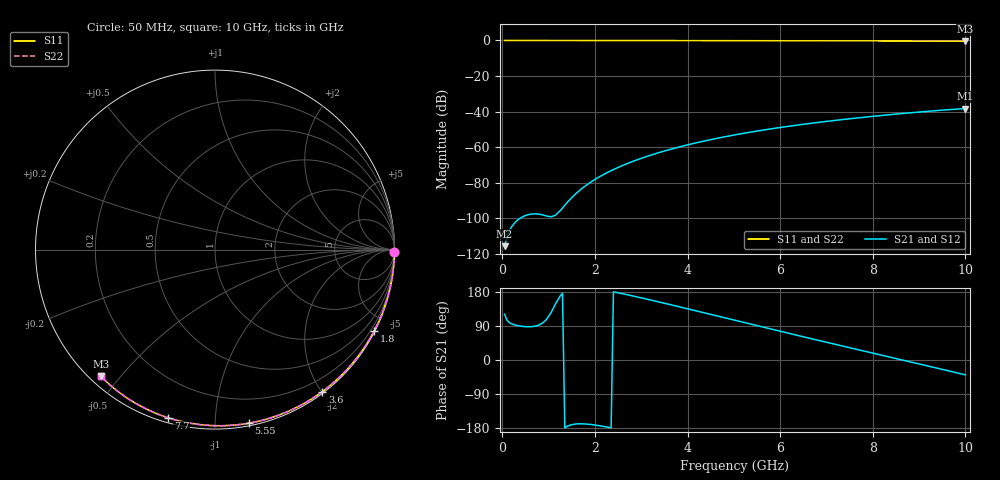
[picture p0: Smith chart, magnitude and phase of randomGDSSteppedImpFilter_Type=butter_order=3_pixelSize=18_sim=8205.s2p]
! freq	dB(S11)	phase(S11)	dB(S12)	phase(S12)
!  dB(S21)	phase(S21)	dB(S22)	phase(S22)
!S-par simulation data
#  GHz  S  DB  R 50
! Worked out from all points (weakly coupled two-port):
!   200 points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, 50 MHz to 10 GHz, reference 50 ohm
!   highest |S21| = -38.30 dB at 10 GHz (marker M1); lowest = -115.8 dB at 50 MHz (marker M2)
!   lowest |S11| = -0.4 dB at 10 GHz (marker M3), VSWR 39.13, Z = 1.53 - j22.3 ohm
!   |S11| at or under -10 dB: nowhere
!   |S22| runs from -0.4 to 0.0 dB; largest |S21 - S12| = 0
!   S11 on the Smith chart (normalised r, x): 50 MHz: open; 1.8 GHz: 0.04, -4.16; 3.6 GHz: 0.02, -2.01; 5.55 GHz: 0.02, -1.21; 7.7 GHz: 0.02, -0.76; 10 GHz: 0.03, -0.45
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0.05  -0.00 -0.8  -115.79 120.7  -115.79 120.7  -0.00 -0.8
0.45  -0.00 -6.8  -99.10 88.5  -99.10 88.5  -0.00 -6.8
0.9  -0.01 -13.6  -98.43 100.8  -98.43 100.8  -0.01 -13.6
1.75  -0.03 -26.3  -82.70 -168.6  -82.70 -168.6  -0.03 -26.3
1.8  -0.03 -27.0  -81.72 -168.9  -81.72 -168.9  -0.03 -27.0
1.9  -0.04 -28.5  -79.90 -170.0  -79.90 -170.0  -0.04 -28.5
2.05  -0.04 -30.7  -77.44 -172.5  -77.44 -172.5  -0.04 -30.7
2.25  -0.04 -33.6  -74.57 -176.6  -74.57 -176.6  -0.04 -33.6
2.45  -0.05 -36.5  -72.04 178.6  -72.04 178.6  -0.05 -36.5
2.65  -0.05 -39.4  -69.79 173.5  -69.79 173.5  -0.05 -39.4
3  -0.06 -44.4  -66.34 164.0  -66.34 164.0  -0.06 -44.4
3.4  -0.07 -50.1  -62.98 152.7  -62.98 152.7  -0.07 -50.1
3.6  -0.07 -52.9  -61.48 146.9  -61.48 146.9  -0.07 -52.9
4.3  -0.09 -62.5  -56.94 126.3  -56.94 126.3  -0.09 -62.5
5.05  -0.11 -72.5  -53.00 104.0  -53.00 104.0  -0.11 -72.5
5.55  -0.13 -79.0  -50.77 89.2  -50.77 89.2  -0.13 -79.0
6.1  -0.15 -86.0  -48.60 72.9  -48.60 72.9  -0.15 -86.0
6.7  -0.18 -93.4  -46.51 55.4  -46.51 55.4  -0.18 -93.4
7.7  -0.24 -105.5  -43.51 26.8  -43.51 26.8  -0.24 -105.5
8.35  -0.29 -113.1  -41.81 8.4  -41.81 8.4  -0.29 -113.1
9.15  -0.36 -122.3  -39.95 -14.5  -39.95 -14.5  -0.36 -122.3
10  -0.44 -131.9  -38.30 -39.3  -38.30 -39.3  -0.44 -131.9
